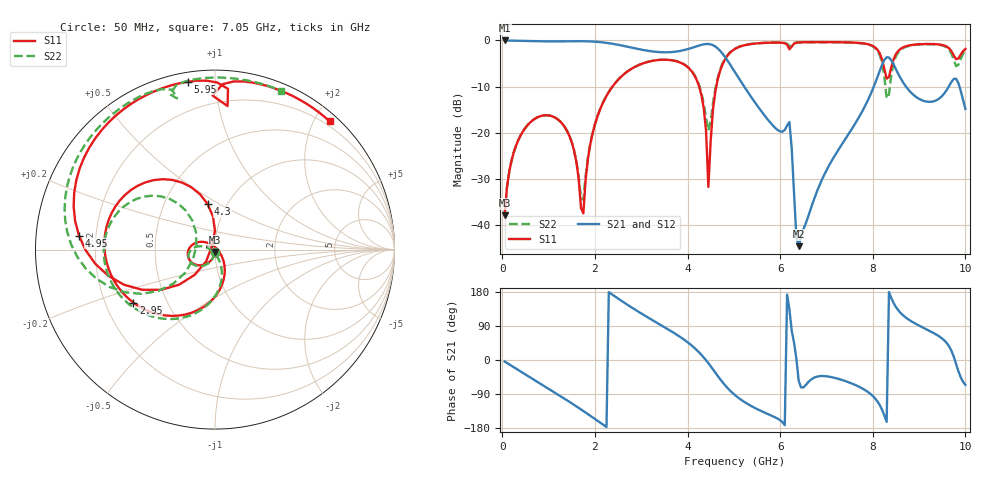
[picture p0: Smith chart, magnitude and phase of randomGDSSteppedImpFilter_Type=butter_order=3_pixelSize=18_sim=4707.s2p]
! freq	dB(S11)	phase(S11)	dB(S12)	phase(S12)
!  dB(S21)	phase(S21)	dB(S22)	phase(S22)
!S-par simulation data
#  GHz  S  DB  R 50
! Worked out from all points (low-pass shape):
!   200 points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, 50 MHz to 10 GHz, reference 50 ohm
!   highest |S21| = -0.01 dB at 50 MHz (marker M1); lowest = -44.5 dB at 6.4 GHz (marker M2)
!   |S21| within 3 dB of the highest: start of sweep to 4.766 GHz
!   lowest |S11| = -37.8 dB at 50 MHz (marker M3), VSWR 1.03, Z = 49.9 - j1.28 ohm
!   |S11| at or under -10 dB: start of sweep to 2.379 GHz; 4.251 GHz to 4.621 GHz (369.7 MHz wide, 8.33 % of centre)
!   |S22| runs from -37.8 to -0.4 dB; largest |S21 - S12| = 0
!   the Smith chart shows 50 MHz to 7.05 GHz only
!   S11 on the Smith chart (normalised r, x): 50 MHz: 1.00, -0.03; 2.95 GHz: 0.32, -0.27; 4.3 GHz: 0.81, +0.44; 4.95 GHz: 0.14, +0.05; 5.95 GHz: 0.05, +0.85; 7.05 GHz: 0.13, +2.23
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0.05  -37.83 -93.5  -0.01 -3.9  -0.01 -3.9  -37.84 -93.2
0.3  -22.67 -113.9  -0.06 -23.0  -0.06 -23.0  -22.67 -112.2
0.95  -16.19 -165.4  -0.20 -72.0  -0.20 -72.0  -16.18 -159.2
1.45  -20.69 152.1  -0.17 -110.3  -0.17 -110.3  -20.66 168.6
1.75  -37.41 4.4  -0.17 -134.6  -0.17 -134.6  -34.46 -105.8
2.1  -15.21 -73.8  -0.35 -164.1  -0.35 -164.1  -15.15 -78.3
2.95  -5.31 -147.1  -1.89 126.6  -1.89 126.6  -5.29 -141.0
3.4  -4.21 179.2  -2.53 93.9  -2.53 93.9  -4.19 -171.4
4.3  -11.84 99.1  -0.95 13.6  -0.95 13.6  -11.36 126.8
4.45  -31.70 131.7  -0.78 -8.4  -0.78 -8.4  -19.51 167.9
4.6  -11.08 -135.6  -1.32 -33.4  -1.32 -33.4  -10.42 -140.8
4.95  -2.36 174.1  -5.68 -84.5  -5.68 -84.5  -2.29 -177.0
5.05  -1.69 163.1  -7.27 -95.2  -7.27 -95.2  -1.64 173.3
5.95  -0.47 99.1  -19.40 -155.1  -19.40 -155.1  -0.44 116.3
6.2  -1.91 85.0  -17.65 133.5  -17.65 133.5  -1.22 104.1
6.4  -0.45 80.5  -44.52 -54.8  -44.52 -54.8  -0.40 97.7
6.7  -0.37 64.8  -35.26 -49.0  -35.26 -49.0  -0.36 83.5
7.05  -0.37 48.1  -27.16 -43.9  -27.16 -43.9  -0.37 67.6
8  -1.19 -3.4  -10.53 -94.9  -10.53 -94.9  -1.29 12.9
8.35  -7.90 12.6  -3.69 179.3  -3.69 179.3  -11.62 46.6
8.9  -0.91 -9.4  -11.95 97.3  -11.95 97.3  -0.98 13.7
10  -1.85 -38.2  -14.82 -65.6  -14.82 -65.6  -2.20 -15.1
